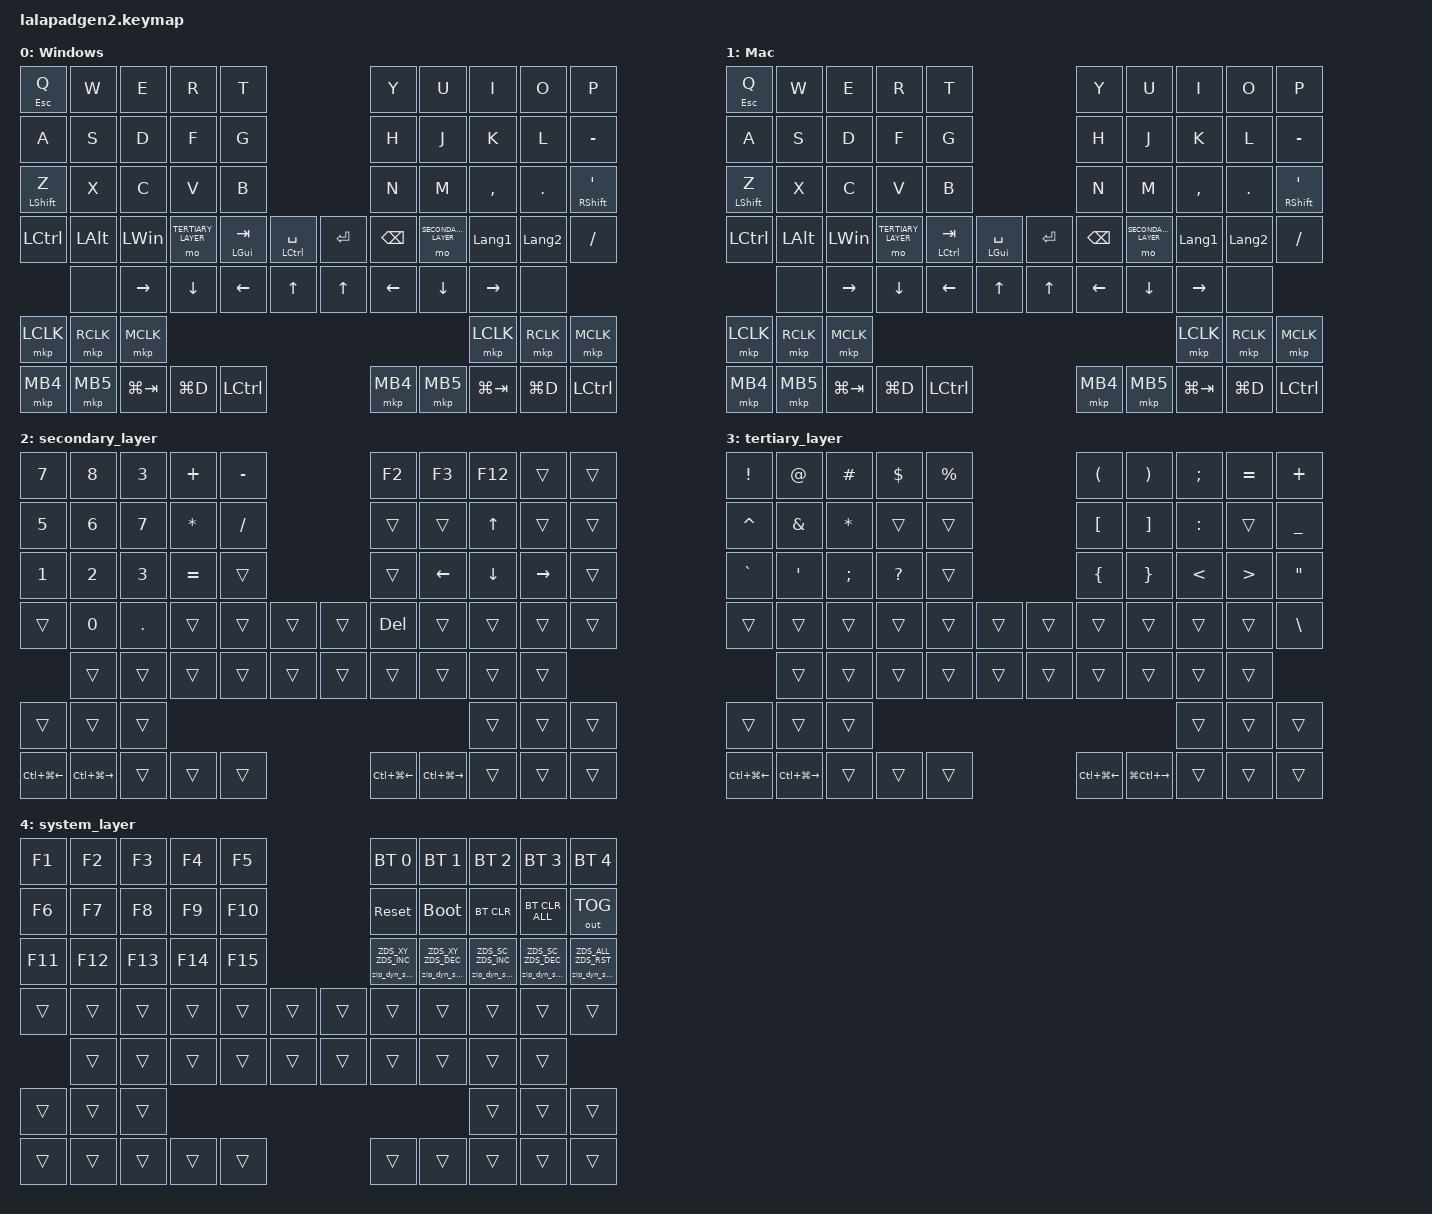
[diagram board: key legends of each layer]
#include <input/processors.dtsi>
#include <dt-bindings/zmk/zip_dynamic_scale.h>
#include <behaviors.dtsi>
#include <dt-bindings/zmk/bt.h>
#include <dt-bindings/zmk/keys.h>
#include <dt-bindings/zmk/outputs.h>
#include <dt-bindings/zmk/pointing.h>

#define WIN_DEFAULT_LAYER 0
#define MAC_DEFAULT_LAYER 1
#define SECONDARY_LAYER   2
#define TERTIARY_LAYER    3
#define SYSTEM_LAYER      4

&mt { quick-tap-ms = <200>; };

&lt { quick-tap-ms = <200>; };

/ {
    behaviors {
        zip_dyn_scale: zip_dyn_scale {
            compatible = "zmk,behavior-zip-dynamic-scale";
            #binding-cells = <2>;
        };

        zip_dyn_scale_set: zip_dyn_scale_set {
            compatible = "zmk,behavior-zip-dynamic-scale-set";
            #binding-cells = <2>;
        };

        mt2: mod_tap2 {
            compatible = "zmk,behavior-hold-tap";
            #binding-cells = <2>;
            flavor = "tap-preferred";
            tapping-term-ms = <200>;
            quick-tap-ms = <200>;
            require-prior-idle-ms = <125>;
            bindings = <&kp>, <&kp>;
        };

        tap_dance_layer_1and2: tap_dance_layer_1and2 {
            compatible = "zmk,behavior-tap-dance";
            label = "td_mo12";
            #binding-cells = <0>;
            bindings = <&mo SECONDARY_LAYER>, <&mo TERTIARY_LAYER>;
        };
    };

    combos {
        compatible = "zmk,combos";

        CONBO_ESC {
            bindings = <&kp ESCAPE>;
            key-positions = <0 1>;
        };

        COMBO_TAB {
            bindings = <&kp TAB>;
            key-positions = <10 11>;
        };

        COMBO_WIN_DEFAULT {
            bindings = <&to WIN_DEFAULT_LAYER>;
            key-positions = <1 9>;
        };

        COMBO_MAC_DEFAULT {
            bindings = <&to MAC_DEFAULT_LAYER>;
            key-positions = <26 9>;
        };
    };

    keymap {
        compatible = "zmk,keymap";

        WIN_DEFAULT_LAYER {
            display-name = "Windows";
            bindings = <
&mt ESCAPE Q       &kp W         &kp E         &kp R               &kp T                                                &kp Y          &kp U                &kp I           &kp O           &kp P
&kp A              &kp S         &kp D         &kp F               &kp G                                                &kp H          &kp J                &kp K           &kp L           &kp MINUS
&mt2 LEFT_SHIFT Z  &kp X         &kp C         &kp V               &kp B                                                &kp N          &kp M                &kp COMMA       &kp PERIOD      &mt RIGHT_SHIFT SQT
&kp LCTRL          &kp LEFT_ALT  &kp LEFT_WIN  &mo TERTIARY_LAYER  &mt LEFT_GUI TAB  &mt LEFT_CONTROL SPACE  &kp ENTER  &kp BACKSPACE  &mo SECONDARY_LAYER  &kp LANGUAGE_1  &kp LANGUAGE_2  &kp SLASH
                   &none         &kp RIGHT     &kp DOWN            &kp LEFT          &kp UP                  &kp UP     &kp LEFT       &kp DOWN             &kp RIGHT       &none
&mkp LCLK          &mkp RCLK     &mkp MCLK                                                                                                                  &mkp LCLK       &mkp RCLK       &mkp MCLK
&mkp MB4           &mkp MB5      &kp LG(TAB)   &kp LG(D)           &kp LCTRL                                            &mkp MB4       &mkp MB5             &kp LG(TAB)     &kp LG(D)       &kp LCTRL
            >;
        };

        MAC_DEFAULT_LAYER {
            display-name = "Mac";
            bindings = <
&mt ESCAPE Q       &kp W         &kp E         &kp R               &kp T                                                &kp Y          &kp U                &kp I           &kp O           &kp P
&kp A              &kp S         &kp D         &kp F               &kp G                                                &kp H          &kp J                &kp K           &kp L           &kp MINUS
&mt2 LEFT_SHIFT Z  &kp X         &kp C         &kp V               &kp B                                                &kp N          &kp M                &kp COMMA       &kp PERIOD      &mt RIGHT_SHIFT SQT
&kp LCTRL          &kp LEFT_ALT  &kp LEFT_WIN  &mo TERTIARY_LAYER  &mt LEFT_CONTROL TAB  &mt LEFT_GUI SPACE  &kp ENTER  &kp BACKSPACE  &mo SECONDARY_LAYER  &kp LANGUAGE_1  &kp LANGUAGE_2  &kp SLASH
                   &none         &kp RIGHT     &kp DOWN            &kp LEFT              &kp UP              &kp UP     &kp LEFT       &kp DOWN             &kp RIGHT       &none
&mkp LCLK          &mkp RCLK     &mkp MCLK                                                                                                                  &mkp LCLK       &mkp RCLK       &mkp MCLK
&mkp MB4           &mkp MB5      &kp LG(TAB)   &kp LG(D)           &kp LCTRL                                            &mkp MB4       &mkp MB5             &kp LG(TAB)     &kp LG(D)       &kp LCTRL
            >;
        };

        SECONDARY_LAYER {
            display-name = "secondary_layer";
            bindings = <
&kp NUMBER_7      &kp NUMBER_8       &kp NUMBER_3  &kp PLUS      &kp MINUS                  &kp F2            &kp F3             &kp F12         &trans           &trans
&kp NUMBER_5      &kp NUMBER_6       &kp NUMBER_7  &kp ASTERISK  &kp SLASH                  &trans            &trans             &kp UP_ARROW    &trans           &trans
&kp NUMBER_1      &kp NUMBER_2       &kp NUMBER_3  &kp EQUAL     &trans                     &trans            &kp LEFT_ARROW     &kp DOWN_ARROW  &kp RIGHT_ARROW  &trans
&trans            &kp NUMBER_0       &kp PERIOD    &trans        &trans     &trans  &trans  &kp DELETE        &trans             &trans          &trans           &trans
                  &trans             &trans        &trans        &trans     &trans  &trans  &trans            &trans             &trans          &trans
&trans            &trans             &trans                                                                                      &trans          &trans           &trans
&kp LC(LG(LEFT))  &kp LC(LG(RIGHT))  &trans        &trans        &trans                     &kp LC(LG(LEFT))  &kp LC(LG(RIGHT))  &trans          &trans           &trans
            >;
        };

        TERTIARY_LAYER {
            display-name = "tertiary_layer";
            bindings = <
&kp EXCLAMATION         &kp AT_SIGN              &kp HASH      &kp DOLLAR    &kp PERCENT                  &kp LEFT_PARENTHESIS    &kp RIGHT_PARENTHESIS    &kp SEMICOLON  &kp EQUAL         &kp PLUS
&kp CARET               &kp AMPERSAND            &kp ASTERISK  &trans        &trans                       &kp LEFT_BRACKET        &kp RIGHT_BRACKET        &kp COLON      &trans            &kp UNDERSCORE
&kp GRAVE               &kp SQT                  &kp SEMI      &kp QUESTION  &trans                       &kp LEFT_BRACE          &kp RIGHT_BRACE          &kp LESS_THAN  &kp GREATER_THAN  &kp DOUBLE_QUOTES
&trans                  &trans                   &trans        &trans        &trans       &trans  &trans  &trans                  &trans                   &trans         &trans            &kp BACKSLASH
                        &trans                   &trans        &trans        &trans       &trans  &trans  &trans                  &trans                   &trans         &trans
&trans                  &trans                   &trans                                                                                                    &trans         &trans            &trans
&kp LC(LG(LEFT_ARROW))  &kp LC(LG(RIGHT_ARROW))  &trans        &trans        &trans                       &kp LC(LG(LEFT_ARROW))  &kp LG(LC(RIGHT_ARROW))  &trans         &trans            &trans
            >;
        };

        SYSTEM_LAYER {
            display-name = "system_layer";
            bindings = <
&kp F1   &kp F2   &kp F3   &kp F4   &kp F5                   &bt BT_SEL 0                   &bt BT_SEL 1                   &bt BT_SEL 2                   &bt BT_SEL 3                   &bt BT_SEL 4
&kp F6   &kp F7   &kp F8   &kp F9   &kp F10                  &sys_reset                     &bootloader                    &bt BT_CLR                     &bt BT_CLR_ALL                 &out OUT_TOG
&kp F11  &kp F12  &kp F13  &kp F14  &kp F15                  &zip_dyn_scale ZDS_XY ZDS_INC  &zip_dyn_scale ZDS_XY ZDS_DEC  &zip_dyn_scale ZDS_SC ZDS_INC  &zip_dyn_scale ZDS_SC ZDS_DEC  &zip_dyn_scale ZDS_ALL ZDS_RST
&trans   &trans   &trans   &trans   &trans   &trans  &trans  &trans                         &trans                         &trans                         &trans                         &trans
         &trans   &trans   &trans   &trans   &trans  &trans  &trans                         &trans                         &trans                         &trans
&trans   &trans   &trans                                                                                                   &trans                         &trans                         &trans
&trans   &trans   &trans   &trans   &trans                   &trans                         &trans                         &trans                         &trans                         &trans
            >;
        };
    };

    conditional_layers {
        compatible = "zmk,conditional-layers";

        Cond_Syslayer {
            if-layers = <SECONDARY_LAYER TERTIARY_LAYER>;
            then-layer = <SYSTEM_LAYER>;
        };
    };
};
